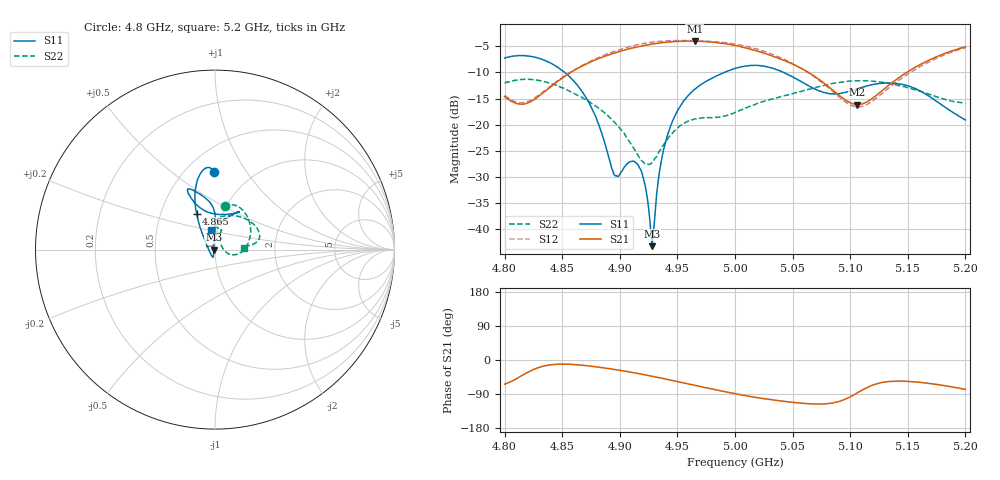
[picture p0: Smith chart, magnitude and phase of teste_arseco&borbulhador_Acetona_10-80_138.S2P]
! Network Analyzer HP8722D
! Hewlett-Packard
! Data name: Linha & Wilkinson
! Saver's name: Rodrigo Anjos
! Comments: Teste da utilização de aquisição
! continua pelo VNA HP8722D
! Time and date: 25/4/2025 16:25
!  Frequency  S11  S21  S12  S22
# HZ  S  MA R 50
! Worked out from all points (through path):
!   401 points, 4.8 GHz to 5.2 GHz, reference 50 ohm
!   highest |S21| = -3.96 dB at 4.965 GHz (marker M1); lowest = -16.1 dB at 5.106 GHz (marker M2)
!   lowest |S11| = -43.3 dB at 4.928 GHz (marker M3), VSWR 1.01, Z = 49.3 - j0.113 ohm
!   |S11| at or under -10 dB: 4.852 GHz to 4.991 GHz (138.5 MHz wide, 2.81 % of centre); 5.042 GHz to end of sweep
!   |S22| runs from -27.6 to -11.3 dB; largest |S21 - S12| = 1.2
!   S11 on the Smith chart (normalised r, x): 4.8 GHz: 0.67, +0.72; 4.865 GHz: 0.76, +0.32; 5.2 GHz: 0.94, +0.21
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4.8e9  0.4348 90.8  0.1855 -63.8  0.1907 69.7  0.2501 77.2
4.82e9  0.4537 97.1  0.1611 -32.6  0.1673 98.4  0.2714 61.8
4.844e9  0.3663 106.9  0.2503 -11.6  0.2534 119.2  0.2398 35.8
4.865e9  0.2249 117.2  0.3533 -12.9  0.3578 120.8  0.1881 11.1
4.867e9  0.2095 118.4  0.3633 -13.8  0.3677 120.7  0.183 8.6
4.88e9  0.1119 128.4  0.4225 -18.3  0.4332 118.2  0.1483 -5.4
4.896e9  0.03247 -165.9  0.4885 -25.2  0.5065 113.2  0.1039 -16.1
4.91e9  0.04444 -106.7  0.5396 -32.5  0.5627 107.2  0.06472 -13.6
4.917e9  0.03889 -103.3  0.5611 -36.4  0.5874 103.6  0.04851 -1.1
4.922e9  0.02634 -107.4  0.5756 -39.2  0.6034 100.8  0.04227 15.9
4.928e9  0.006876 -170.4  0.5912 -43.0  0.6169 97.1  0.04343 41.1
4.93e9  0.01159 125.0  0.5945 -44.1  0.6205 95.8  0.04674 48.3
4.934e9  0.03303 99.7  0.6045 -46.8  0.6286 93.2  0.05488 58.1
4.945e9  0.1029 90.3  0.6226 -53.6  0.6366 86.4  0.08149 69.7
4.965e9  0.2181 91.1  0.6337 -66.9  0.6365 73.4  0.1138 71.4
5e9  0.3452 109.2  0.5722 -88.9  0.5918 50.8  0.1309 88.2
5.031e9  0.3511 115.2  0.4601 -104.4  0.4778 33.3  0.1745 84.6
5.067e9  0.2265 105.4  0.3013 -115.9  0.2983 23.6  0.2222 57.0
5.106e9  0.2199 64.8  0.1558 -87.1  0.1482 56.0  0.2631 24.8
5.134e9  0.2512 57.4  0.2409 -56.6  0.2266 88.7  0.248 12.3
5.17e9  0.1827 70.7  0.4222 -62.4  0.4069 84.4  0.1935 6.8
5.2e9  0.1111 100.5  0.5545 -77.4  0.5444 70.1  0.1614 3.8
